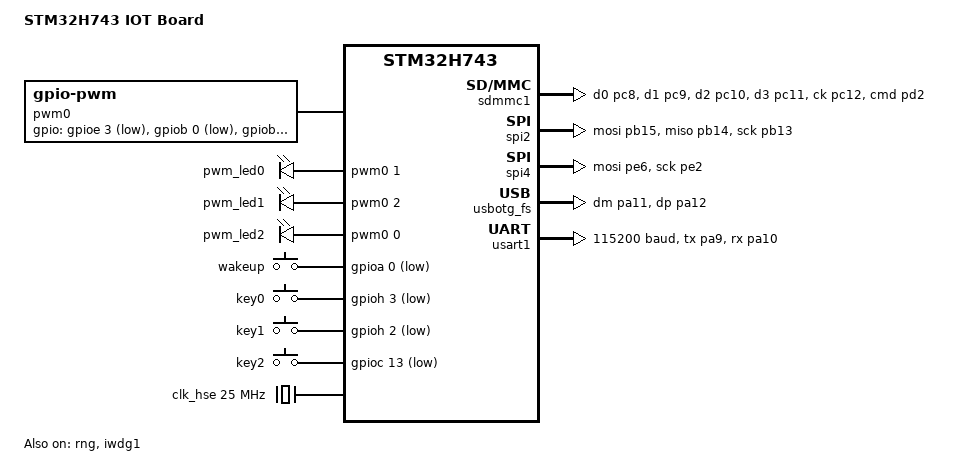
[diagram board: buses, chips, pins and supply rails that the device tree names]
/*
 * Copyright (c) 2024 Charles Dias <charlesdias.cd@outlook.com>
 *
 * SPDX-License-Identifier: Apache-2.0
 */

/dts-v1/;
#include <st/h7/stm32h743Xi.dtsi>
#include <st/h7/stm32h743xihx-pinctrl.dtsi>
#include <zephyr/dt-bindings/input/input-event-codes.h>
#include <zephyr/dt-bindings/mipi_dbi/mipi_dbi.h>
#include <zephyr/dt-bindings/gpio/gpio.h>

/ {
	model = "STM32H743 IOT Board";
	compatible = "st,stm32h743-IOT";

	chosen {
		zephyr,console = &usart1;
		zephyr,shell-uart = &usart1;
		zephyr,sram = &sram0;
		zephyr,flash = &flash0;
	};

	pwm0:gpio_pwm {
		compatible = "zephyr,gpio-pwm";
		pwm-controller;
		#pwm-cells = <2>;
		frequency = <20000>;
		gpios = <&gpioe 3 GPIO_ACTIVE_LOW>,
				<&gpiob 0 GPIO_ACTIVE_LOW>,
				<&gpiob 1 GPIO_ACTIVE_LOW>;
		status = "okay";
	};

	pwmleds {
		compatible = "pwm-leds";
		pwm_led0: pwm_led_0 {
			pwms = <&pwm0 1 PWM_MSEC(20)>;	/* R */
		};

		pwm_led1: pwm_led_1 {
			pwms = <&pwm0 2 PWM_MSEC(20)>;	/* G */
		};

		pwm_led2: pwm_led_2 {
			pwms = <&pwm0 0 PWM_MSEC(20)>; /* B */
		};
	};

	gpio_keys {
		compatible = "gpio-keys";
		wakeup1:button_wakeup {
			label = "wakeup";
			gpios = <&gpioa 0 GPIO_ACTIVE_LOW>;
			zephyr,code = <INPUT_KEY_WAKEUP>;
		};
		key0:button_0 {
			label = "key0";
			gpios = <&gpioh 3 GPIO_ACTIVE_LOW>;
			zephyr,code = <INPUT_KEY_0>;
		};
		key1:button_1 {
			label = "key1";
			gpios = <&gpioh 2 GPIO_ACTIVE_LOW>;
			zephyr,code = <INPUT_KEY_1>;
		};
		key2:button_2 {
			label = "key2";
			gpios = <&gpioc 13 GPIO_ACTIVE_LOW>;
			zephyr,code = <INPUT_KEY_2>;
		};
	};
};

&sdmmc1 {
	pinctrl-0 = <&sdmmc1_d0_pc8 &sdmmc1_d1_pc9
		     &sdmmc1_d2_pc10 &sdmmc1_d3_pc11
		     &sdmmc1_ck_pc12 &sdmmc1_cmd_pd2>;
	pinctrl-names = "default";
	// cd-gpios = <&gpiod 4 (GPIO_ACTIVE_HIGH | GPIO_PULL_UP)>;
	disk-name = "SD";
	status = "okay";
};

&spi2 {
	pinctrl-0 = <&spi2_mosi_pb15 &spi2_miso_pb14 &spi2_sck_pb13>;
	pinctrl-names = "default";
	status = "okay";
};

&spi4 {
	pinctrl-0 = <&spi4_mosi_pe6 &spi4_sck_pe2>;
	pinctrl-names = "default";
	cs-gpios = <&gpioe 3 GPIO_ACTIVE_HIGH>;
	status = "okay";
};

&usbotg_fs {
	pinctrl-0 = <&usb_otg_fs_dm_pa11 &usb_otg_fs_dp_pa12>;
	pinctrl-names = "default";
	status = "okay";
};

&usart1 {
	pinctrl-0 = <&usart1_tx_pa9 &usart1_rx_pa10>;
	pinctrl-names = "default";
	current-speed = <115200>;
	status = "okay";
};

&clk_lsi {
	status = "okay";
};

&clk_hsi {
	status = "okay";
};

&clk_hsi48 {
	status = "okay";
};

&clk_hse {
	clock-frequency = <DT_FREQ_M(25)>;
	status = "okay";
};

&pll {
	div-m = <5>;
	mul-n = <192>;
	div-p = <2>;
	div-q = <2>;
	div-r = <2>;
	clocks = <&clk_hse>;
	status = "okay";
};

&pll2 {
	div-m = <2>;
	mul-n = <12>;
	div-p = <2>;
	div-q = <2>;
	div-r = <2>;
	clocks = <&clk_hse>;
	status = "okay";
};

&pll3 {
	div-m = <2>;
	mul-n = <12>;
	div-p = <2>;
	div-q = <3>;
	div-r = <2>;
	clocks = <&clk_hse>;
	status = "okay";
};

&rcc {
	clocks = <&pll>;
	clock-frequency = <DT_FREQ_M(480)>;
	d1cpre = <1>;
	hpre = <2>;
	d1ppre = <2>;
	d2ppre1 = <2>;
	d2ppre2 = <2>;
	d3ppre = <2>;
};

&pwr {
	power-supply = "ldo";
};

&rng {
	status = "okay";
};

&backup_sram {
	status = "okay";
};

&iwdg1 {
	status = "okay";
};
